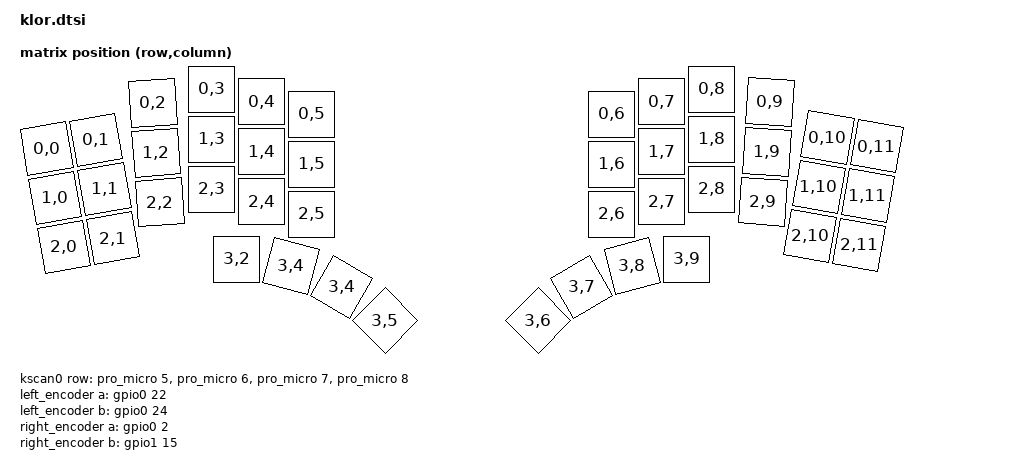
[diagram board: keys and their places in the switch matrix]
/*
 * Copyright (c) 2022 The ZMK Contributors
 *
 * SPDX-License-Identifier: MIT
 */

#include "klor_common.dtsi"

/ {
	chosen {
		zmk,matrix_transform = &default_transform;
	};

default_transform: keymap_transform_0 {
		compatible = "zmk,matrix-transform";
		columns = <12>;
		rows = <4>;
		map = <
RC(0,0) RC(0,1) RC(0,2) RC(0,3) RC(0,4) RC(0,5)                 RC(0,6) RC(0,7) RC(0,8) RC(0,9) RC(0,10) RC(0,11)
RC(1,0) RC(1,1) RC(1,2) RC(1,3) RC(1,4) RC(1,5)                 RC(1,6) RC(1,7) RC(1,8) RC(1,9) RC(1,10) RC(1,11)
RC(2,0) RC(2,1) RC(2,2) RC(2,3) RC(2,4) RC(2,5)                 RC(2,6) RC(2,7) RC(2,8) RC(2,9) RC(2,10) RC(2,11)
                        RC(3,2) RC(3,4) RC(3,4) RC(3,5) RC(3,6) RC(3,7) RC(3,8) RC(3,9)
		>;
	};
};

physical_layout0: physical_layout_0 {
	compatible = "zmk,physical-layout";
	display-name = "KLOR Layout";
	transform = <&default_transform>;
	kscan = <&kscan0>;  

	keys  //                     w   h    x    y     rot    rx    ry
		= <&key_physical_attrs 100 100    0   90 (-1000)   200   325>
		, <&key_physical_attrs 100 100  100   90 (-1000)   200   325>
		, <&key_physical_attrs 100 100  200   25  (-400)   275   325>
		, <&key_physical_attrs 100 100  300    0       0     0     0>
		, <&key_physical_attrs 100 100  400   25       0     0     0>
		, <&key_physical_attrs 100 100  500   50       0     0     0>
		, <&key_physical_attrs 100 100 1100   50       0     0     0>
		, <&key_physical_attrs 100 100 1200   25       0     0     0>
		, <&key_physical_attrs 100 100 1300    0       0     0     0>
		, <&key_physical_attrs 100 100 1400   25     400  1450   325>
		, <&key_physical_attrs 100 100 1500   90    1000  1525   325>
		, <&key_physical_attrs 100 100 1600   90    1000  1525   325>
		, <&key_physical_attrs 100 100    0  190 (-1000)   200   325>
		, <&key_physical_attrs 100 100  100  190 (-1000)   200   325>
		, <&key_physical_attrs 100 100  200  125  (-400)   275   325>
		, <&key_physical_attrs 100 100  300  100       0     0     0>
		, <&key_physical_attrs 100 100  400  125       0     0     0>
		, <&key_physical_attrs 100 100  500  150       0     0     0>
		, <&key_physical_attrs 100 100 1100  150       0     0     0>
		, <&key_physical_attrs 100 100 1200  125       0     0     0>
		, <&key_physical_attrs 100 100 1300  100       0     0     0>
		, <&key_physical_attrs 100 100 1400  125     400  1450   325>
		, <&key_physical_attrs 100 100 1500  190    1000  1525   325>
		, <&key_physical_attrs 100 100 1600  190    1000  1525   325>
		, <&key_physical_attrs 100 100    0  290 (-1000)   200   325>
		, <&key_physical_attrs 100 100  100  290 (-1000)   200   325>
		, <&key_physical_attrs 100 100  200  225  (-400)   275   325>
		, <&key_physical_attrs 100 100  300  200       0     0     0>
		, <&key_physical_attrs 100 100  400  225       0     0     0>
		, <&key_physical_attrs 100 100  500  250       0     0     0>
		, <&key_physical_attrs 100 100 1100  250       0     0     0>
		, <&key_physical_attrs 100 100 1200  225       0     0     0>
		, <&key_physical_attrs 100 100 1300  200       0     0     0>
		, <&key_physical_attrs 100 100 1400  225     400  1450   325>
		, <&key_physical_attrs 100 100 1500  290    1000  1525   325>
		, <&key_physical_attrs 100 100 1600  290    1000  1525   325>
		, <&key_physical_attrs 100 100  350  340       0     0     0>
		, <&key_physical_attrs 100 100  350  340    1500   400   810>
		, <&key_physical_attrs 100 100  350  340    3000   400   810>
		, <&key_physical_attrs 100 100  350  340    4500   400   810>
		, <&key_physical_attrs 100 100 1250  340 (-4500)  1300   810>
		, <&key_physical_attrs 100 100 1250  340 (-3000)  1300   810>
		, <&key_physical_attrs 100 100 1250  340 (-1500)  1300   810>
		, <&key_physical_attrs 100 100 1250  340       0     0     0>
		;
};

&kscan0 {
	row-gpios
		= <&pro_micro 5 (GPIO_ACTIVE_HIGH | GPIO_PULL_DOWN)>
		, <&pro_micro 6 (GPIO_ACTIVE_HIGH | GPIO_PULL_DOWN)>
		, <&pro_micro 7 (GPIO_ACTIVE_HIGH | GPIO_PULL_DOWN)>
		, <&pro_micro 8 (GPIO_ACTIVE_HIGH | GPIO_PULL_DOWN)>
		;
};

&left_encoder {
	a-gpios = <&gpio0 22 (GPIO_ACTIVE_HIGH | GPIO_PULL_UP)>;
	b-gpios = <&gpio0 24 (GPIO_ACTIVE_HIGH | GPIO_PULL_UP)>;
};

&right_encoder {
	a-gpios = <&gpio0 2  (GPIO_ACTIVE_HIGH | GPIO_PULL_UP)>;
	b-gpios = <&gpio1 15 (GPIO_ACTIVE_HIGH | GPIO_PULL_UP)>;
};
